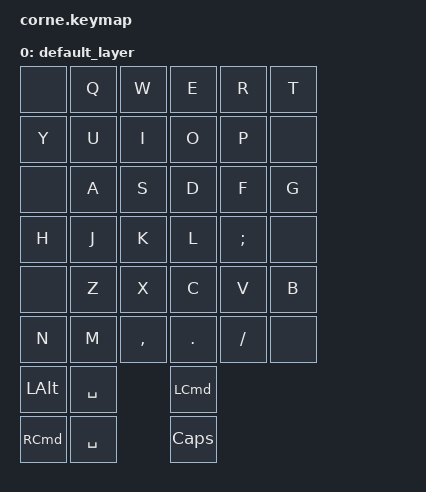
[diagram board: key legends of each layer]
/*
 * Copyright (c) 2020 The ZMK Contributors
 *
 * SPDX-License-Identifier: MIT
 */

#include <behaviors.dtsi>
#include <dt-bindings/zmk/keys.h>
#include <dt-bindings/zmk/bt.h>
#include <dt-bindings/zmk/outputs.h>

/ {
    chosen {
      zmk,battery = &vbatt;
    };
    vbatt: vbatt {
        compatible = "zmk,battery-nrf-vddh";
        label = "VBATT";
    };

   combos {
        compatible = "zmk,combos";
        combo_tab { timeout-ms = <30>; key-positions = <14 15>; bindings = <&kp TAB>; };
        combo_del { timeout-ms = <30>; key-positions = <15 16>; bindings = <&kp BSPC>; };
        combo_esc { timeout-ms = <30>; key-positions = <19 20>; bindings = <&kp ESC>; };
        combo_ret { timeout-ms = <30>; key-positions = <20 21>; bindings = <&kp RET>; };
   };

    keymap {
        compatible = "zmk,keymap";
        default_layer {
            bindings = <
                      //  1     2     3     4     5
                &none &kp Q &kp W &kp E &kp R &kp T
                      &kp Y &kp U &kp I &kp O &kp P &none
                      //  6     7     8     9     10

                      //  13    14    15    16    17
                &none &kp A &kp S &kp D &kp F &kp G
                      &kp H &kp J &kp K &kp L &kp SEMI &none
                      //  18    19    20    21    22

                      //  25    26    27    28    29
                &none &kp Z &kp X &kp C     &kp V   &kp B
                      &kp N &kp M &kp COMMA &kp DOT &kp FSLH &none
                      //  30    31    32    33    34

                &kp LALT &kp SPACE &kp LCMD
                &kp RCMD &kp SPACE &kp CAPS
            >;
        };
    };
};
